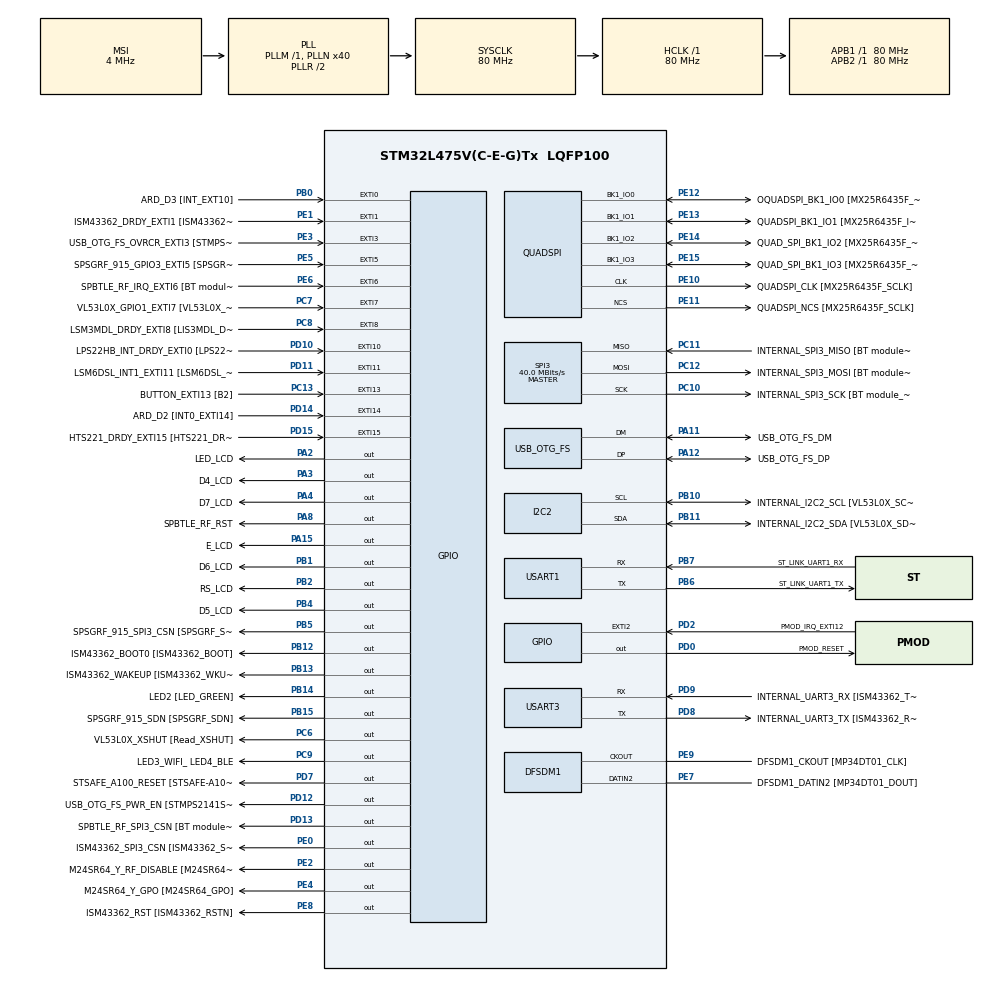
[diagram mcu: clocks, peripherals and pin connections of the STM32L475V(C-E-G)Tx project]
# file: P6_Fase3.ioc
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I2C2.Timing=0x10909CEC
Mcu.Family=STM32L4
Mcu.Name=STM32L475V(C-E-G)Tx
Mcu.Package=LQFP100
NVIC.EXTI15_10_IRQn=true\:0\:0\:false\:false\:true\:true\:true
NVIC.EXTI9_5_IRQn=true\:0\:0\:false\:false\:true\:true\:true
NVIC.OTG_FS_IRQn=true\:0\:0\:false\:false\:true\:true\:true
NVIC.PriorityGroup=NVIC_PRIORITYGROUP_4
PA0.GPIO_Label=ARD_D1 [UART4_TX]
PA0.Signal=UART4_TX
PA1.GPIO_Label=ARD_D0 [UART4_RX]
PA1.Signal=UART4_RX
PA10.GPIO_Label=USB_OTG_FS_ID
PA10.Signal=USB_OTG_FS_ID
PA11.GPIO_Label=USB_OTG_FS_DM
PA11.Mode=Device_Only
PA11.Signal=USB_OTG_FS_DM
PA12.GPIO_Label=USB_OTG_FS_DP
PA12.Mode=Device_Only
PA12.Signal=USB_OTG_FS_DP
PA13\ (JTMS-SWDIO).GPIO_Label=SYS_JTMS_SWDIO
PA13\ (JTMS-SWDIO).Mode=Serial_Wire
PA13\ (JTMS-SWDIO).Signal=SYS_JTMS-SWDIO
PA14\ (JTCK-SWCLK).GPIO_Label=SYS_JTCK_SWCLK
PA14\ (JTCK-SWCLK).Mode=Serial_Wire
PA14\ (JTCK-SWCLK).Signal=SYS_JTCK-SWCLK
PA15\ (JTDI).GPIO_Label=E_LCD
PA15\ (JTDI).Signal=GPIO_Output
PA2.GPIO_Label=LED_LCD
PA2.Signal=GPIO_Output
PA3.GPIO_Label=D4_LCD
PA3.Signal=GPIO_Output
PA4.GPIO_Label=D7_LCD
PA4.Signal=GPIO_Output
PA5.GPIO_Label=ARD_D13 [SPI1_SCK]
PA5.Signal=SPI1_SCK
PA6.GPIO_Label=ARD_D12 [SPI1_MISO]
PA6.Signal=SPI1_MISO
PA7.GPIO_Label=ARD_D11 [SPI1_MOSI]
PA7.Signal=SPI1_MOSI
PA8.GPIO_Label=SPBTLE_RF_RST
PA8.Signal=GPIO_Output
PA9.GPIO_Label=USB_OTG_FS_VBUS [STMPS2141STR_OUT]
PA9.Signal=USB_OTG_FS_VBUS
PB0.GPIO_Label=ARD_D3 [INT_EXT10]
PB0.Signal=GPXTI0
PB1.GPIO_Label=D6_LCD
PB1.Signal=GPIO_Output
PB10.GPIO_Label=INTERNAL_I2C2_SCL [VL53L0X_SCL]
PB10.Mode=I2C
PB10.Signal=I2C2_SCL
PB11.GPIO_Label=INTERNAL_I2C2_SDA [VL53L0X_SDA]
PB11.Mode=I2C
PB11.Signal=I2C2_SDA
PB12.GPIO_Label=ISM43362_BOOT0 [ISM43362_BOOT]
PB12.Signal=GPIO_Output
PB13.GPIO_Label=ISM43362_WAKEUP [ISM43362_WKUP]
PB13.Signal=GPIO_Output
PB14.GPIO_Label=LED2 [LED_GREEN]
PB14.Signal=GPIO_Output
PB15.GPIO_Label=SPSGRF_915_SDN [SPSGRF_SDN]
PB15.Signal=GPIO_Output
PB2.GPIO_Label=RS_LCD
PB2.Signal=GPIO_Output
PB3\ (JTDO-TRACESWO).GPIO_Label=SYS_JTD0_SWO
PB3\ (JTDO-TRACESWO).Signal=SYS_JTDO-SWO
PB4\ (NJTRST).GPIO_Label=D5_LCD
PB4\ (NJTRST).Signal=GPIO_Output
PB5.GPIO_Label=SPSGRF_915_SPI3_CSN [SPSGRF_SPI_CS]
PB5.PinState=GPIO_PIN_SET
PB5.Signal=GPIO_Output
PB6.GPIO_Label=ST_LINK_UART1_TX
PB6.Mode=Asynchronous
PB6.Signal=USART1_TX
PB7.GPIO_Label=ST_LINK_UART1_RX
PB7.Mode=Asynchronous
PB7.Signal=USART1_RX
PB8.GPIO_Label=ARD_D15 [I2C1_SCL]
PB8.Signal=I2C1_SCL
PB9.GPIO_Label=ARD_D14 [I2C1_SDA]
PB9.Signal=I2C1_SDA
PC0.GPIO_Label=ARD_A5 [ADC]
PC0.Signal=ADCx_IN1
PC1.GPIO_Label=ARD_A4 [ADC]
PC1.Signal=ADCx_IN2
PC10.GPIO_Label=INTERNAL_SPI3_SCK [BT module_SPI_SCLK] [ISM43362_SCK]
PC10.Mode=Full_Duplex_Master
PC10.Signal=SPI3_SCK
PC11.GPIO_Label=INTERNAL_SPI3_MISO [BT module_SPI_MISO] [ISM43362_MISO]
PC11.Mode=Full_Duplex_Master
PC11.Signal=SPI3_MISO
PC12.GPIO_Label=INTERNAL_SPI3_MOSI [BT module_SPI_MOSI] [ISM43362_MOSI]
PC12.Mode=Full_Duplex_Master
PC12.Signal=SPI3_MOSI
PC13.GPIO_Label=BUTTON_EXTI13 [B2]
PC13.GPIO_ModeDefaultEXTI=GPIO_MODE_IT_FALLING
PC13.Signal=GPXTI13
PC14-OSC32_IN\ (PC14).Mode=LSE-External-Oscillator
PC14-OSC32_IN\ (PC14).Signal=RCC_OSC32_IN
PC15-OSC32_OUT\ (PC15).Mode=LSE-External-Oscillator
PC15-OSC32_OUT\ (PC15).Signal=RCC_OSC32_OUT
PC2.GPIO_Label=ARD_A3 [ADC]
PC2.Signal=ADCx_IN3
PC3.GPIO_Label=ARD_A2 [ADC]
PC3.Signal=ADCx_IN4
PC4.GPIO_Label=ARD_A1 [ADC]
PC4.Signal=ADCx_IN13
PC5.GPIO_Label=ARD_A0 [ADC]
PC5.Signal=ADCx_IN14
PC6.GPIO_Label=VL53L0X_XSHUT [Read_XSHUT]
PC6.Signal=GPIO_Output
PC7.GPIO_Label=VL53L0X_GPIO1_EXTI7 [VL53L0X_GPIO1]
PC7.Signal=GPXTI7
PC8.GPIO_Label=LSM3MDL_DRDY_EXTI8 [LIS3MDL_DRDY]
PC8.Signal=GPXTI8
PC9.GPIO_Label=LED3_WIFI_ LED4_BLE
PC9.Signal=GPIO_Output
PD0.GPIO_Label=PMOD_RESET
PD0.Signal=GPIO_Output
PD1.GPIO_Label=PMOD_SPI2_SCK
PD1.Signal=SPI2_SCK
PD10.GPIO_Label=LPS22HB_INT_DRDY_EXTI0 [LPS22HB_INT_DRDY] 
PD10.Signal=GPXTI10
PD11.GPIO_Label=LSM6DSL_INT1_EXTI11 [LSM6DSL_INT1]
PD11.Signal=GPXTI11
PD12.GPIO_Label=USB_OTG_FS_PWR_EN [STMPS2141STR_EN]
PD12.Signal=GPIO_Output
PD13.GPIO_Label=SPBTLE_RF_SPI3_CSN [BT module_SPI_CS]
PD13.PinState=GPIO_PIN_SET
PD13.Signal=GPIO_Output
PD14.GPIO_Label=ARD_D2 [INT0_EXTI14]
PD14.Signal=GPXTI14
PD15.GPIO_Label=HTS221_DRDY_EXTI15 [HTS221_DRDY]
PD15.Signal=GPXTI15
PD2.GPIO_Label=PMOD_IRQ_EXTI12
PD2.Signal=GPXTI2
PD3.GPIO_Label=PMOD_UART2_CTS
PD3.Signal=USART2_CTS
PD4.GPIO_Label=PMOD_UART2_RTS
PD4.Signal=USART2_RTS
PD5.GPIO_Label=PMOD_UART2_TX
PD5.Signal=USART2_TX
PD6.GPIO_Label=PMOD_UART2_RX
PD6.Signal=USART2_RX
PD7.GPIO_Label=STSAFE_A100_RESET [STSAFE-A100_RESET]
PD7.Signal=GPIO_Output
PD8.GPIO_Label=INTERNAL_UART3_TX [ISM43362_RX]
PD8.Mode=Asynchronous
PD8.Signal=USART3_TX
PD9.GPIO_Label=INTERNAL_UART3_RX [ISM43362_TX]
PD9.Mode=Asynchronous
PD9.Signal=USART3_RX
PE0.GPIO_Label=ISM43362_SPI3_CSN [ISM43362_SSN]
PE0.PinState=GPIO_PIN_SET
PE0.Signal=GPIO_Output
PE1.GPIO_Label=ISM43362_DRDY_EXTI1 [ISM43362_DATARDY]
PE1.Signal=GPXTI1
PE10.GPIO_Label=QUADSPI_CLK [MX25R6435F_SCLK]
PE10.Mode=Single Bank
PE10.Signal=QUADSPI_CLK
PE11.GPIO_Label=QUADSPI_NCS [MX25R6435F_SCLK]
PE11.Mode=Single Bank
PE11.Signal=QUADSPI_NCS
PE12.GPIO_Label=OQUADSPI_BK1_IO0 [MX25R6435F_IO0]
PE12.Mode=Single Bank
PE12.Signal=QUADSPI_BK1_IO0
PE13.GPIO_Label=QUADSPI_BK1_IO1 [MX25R6435F_IO1]
PE13.Mode=Single Bank
PE13.Signal=QUADSPI_BK1_IO1
PE14.GPIO_Label=QUAD_SPI_BK1_IO2 [MX25R6435F_IO2]
PE14.Mode=Single Bank
PE14.Signal=QUADSPI_BK1_IO2
PE15.GPIO_Label=QUAD_SPI_BK1_IO3 [MX25R6435F_IO3]
PE15.Mode=Single Bank
PE15.Signal=QUADSPI_BK1_IO3
PE2.GPIO_Label=M24SR64_Y_RF_DISABLE [M24SR64_RFDIS]
PE2.Signal=GPIO_Output
PE3.GPIO_Label=USB_OTG_FS_OVRCR_EXTI3 [STMPS2141STR_FAULT]
PE3.Signal=GPXTI3
PE4.GPIO_Label=M24SR64_Y_GPO [M24SR64_GPO]
PE4.Signal=GPIO_Output
PE5.GPIO_Label=SPSGRF_915_GPIO3_EXTI5 [SPSGRF_GPIO_3]
PE5.Signal=GPXTI5
PE6.GPIO_Label=SPBTLE_RF_IRQ_EXTI6 [BT module_SPI_IRQ]
PE6.Signal=GPXTI6
PE7.GPIO_Label=DFSDM1_DATIN2 [MP34DT01_DOUT]
PE7.Signal=S_DATAIN2DFSDM1
PE8.GPIO_Label=ISM43362_RST [ISM43362_RSTN]
PE8.Signal=GPIO_Output
PE9.GPIO_Label=DFSDM1_CKOUT [MP34DT01_CLK]
PE9.Signal=S_CKOUTDFSDM1
ProjectManager.HeapSize=0x200
ProjectManager.StackSize=0x400
ProjectManager.TargetToolchain=STM32CubeIDE
RCC.ADCFreq_Value=48000000
RCC.AHBFreq_Value=80000000
RCC.APB1Freq_Value=80000000
RCC.APB1TimFreq_Value=80000000
RCC.APB2Freq_Value=80000000
RCC.APB2TimFreq_Value=80000000
RCC.CortexFreq_Value=80000000
RCC.HCLKFreq_Value=80000000
RCC.HSE_VALUE=8000000
RCC.HSI_VALUE=16000000
RCC.MSI_VALUE=4000000
RCC.PLLN=40
RCC.PLLSAI1N=24
RCC.SYSCLKFreq_VALUE=80000000
RCC.SYSCLKSource=RCC_SYSCLKSOURCE_PLLCLK
RCC.USBFreq_Value=48000000
RCC.VCOOutputFreq_Value=160000000
SH.ADCx_IN1.0=ADC1_IN1
SH.ADCx_IN13.0=ADC1_IN13
SH.ADCx_IN14.0=ADC1_IN14
SH.ADCx_IN2.0=ADC1_IN2
SH.ADCx_IN3.0=ADC1_IN3
SH.ADCx_IN4.0=ADC1_IN4
SH.S_CKOUTDFSDM1.0=DFSDM1_CKOUT,CKOUT
SH.S_CKOUTDFSDM1.1=DFSDM1_CKOUT,PDM_SPI_Input_from_ch12_and_Internal_Clock
SH.S_DATAIN2DFSDM1.0=DFSDM1_DATIN2,PDM_SPI_Input_from_ch12_and_Internal_Clock
SPI3.CalculateBaudRate=40.0 MBits/s
SPI3.Direction=SPI_DIRECTION_2LINES
SPI3.Mode=SPI_MODE_MASTER
SPI3.VirtualType=VM_MASTER
USART1.VirtualMode-Asynchronous=VM_ASYNC
USART3.VirtualMode-Asynchronous=VM_ASYNC
USB_DEVICE.CLASS_NAME_FS=CUSTOM_HID
USB_DEVICE.USBD_CUSTOMHID_OUTREPORT_BUF_SIZE=4
USB_DEVICE.USBD_CUSTOM_HID_REPORT_DESC_SIZE=29
USB_DEVICE.VirtualMode=CustomHid
USB_DEVICE.VirtualModeFS=Custom_Hid_FS
USB_OTG_FS.VirtualMode=Device_Only
VP_USB_DEVICE_VS_USB_DEVICE_CUSTOM_HID_FS.Mode=CUSTOM_HID_FS
board=B-L475E-IOT01A1

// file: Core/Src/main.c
/* USER CODE BEGIN Header */
/**
  ******************************************************************************
  * @file           : main.c
  * @brief          : Main program body
  ******************************************************************************
  * @attention
  *
  * <h2><center>&copy; Copyright (c) 2021 STMicroelectronics.
  * All rights reserved.</center></h2>
  *
  * This software component is licensed by ST under BSD 3-Clause license,
  * the "License"; You may not use this file except in compliance with the
  * License. You may obtain a copy of the License at:
  *                        opensource.org/licenses/BSD-3-Clause
  *
  ******************************************************************************
  */
/* USER CODE END Header */

#include "main.h"
#include "usb_device.h"

/* USER CODE BEGIN Includes */
#include "hd44780.h"
#include "HTS221.h"
/* USER CODE END Includes */

DFSDM_Channel_HandleTypeDef hdfsdm1_channel1;

I2C_HandleTypeDef hi2c2;

QSPI_HandleTypeDef hqspi;

SPI_HandleTypeDef hspi3;

UART_HandleTypeDef huart1;
UART_HandleTypeDef huart3;

/* USER CODE BEGIN PV */
extern USBD_HandleTypeDef hUsbDeviceFS;
extern uint8_t miflag;
/* USER CODE END PV */

void SystemClock_Config(void);
static void MX_GPIO_Init(void);
static void MX_DFSDM1_Init(void);
static void MX_I2C2_Init(void);
static void MX_QUADSPI_Init(void);
static void MX_SPI3_Init(void);
static void MX_USART1_UART_Init(void);
static void MX_USART3_UART_Init(void);

int main(void)
{

  /* MCU Configuration--------------------------------------------------------*/

  /* Reset of all peripherals, Initializes the Flash interface and the Systick. */
  HAL_Init();

  /* USER CODE BEGIN Init */
  uint8_t dato[6];
  int led = 0;
  /* USER CODE END Init */

  /* Configure the system clock */
  SystemClock_Config();

  /* Initialize all configured peripherals */
  MX_GPIO_Init();
  MX_DFSDM1_Init();
  MX_I2C2_Init();
  MX_QUADSPI_Init();
  MX_SPI3_Init();
  MX_USART1_UART_Init();
  MX_USART3_UART_Init();
  MX_USB_DEVICE_Init();
  /* USER CODE BEGIN 2 */
  LL_GPIO_SetOutputPin(GPIOA, LED_LCD_Pin);
  lcd_reset();
  lcd_display_settings(1,0,0);
  lcd_clear();

  HTS221_Init();

  HAL_Delay(5000); //retraso para esperar a que el USB se configure
  dato[0]=0; //estos son los tres botones, ninguno pulsado
  /* USER CODE END 2 */

  /* Infinite loop */
  /* USER CODE BEGIN WHILE */
  HAL_GPIO_WritePin(LED2_GPIO_Port, LED2_Pin, GPIO_PIN_SET);
  USBD_LL_PrepareReceive(&hUsbDeviceFS, 1,dato, 6);
  while (1)
  {
    /* USER CODE END WHILE */
	  if(miflag==1){
		  USBD_LL_PrepareReceive(&hUsbDeviceFS, 1,dato,6);
		  moveToXY(0,0);
		  lcd_print("Tecla: ");
		  writeIntegerToLCD(dato[0]);
		  if(led == 0){
			  LL_GPIO_SetOutputPin(LED2_GPIO_Port, LED2_Pin);
			  led = 1;
		  }else{
			  LL_GPIO_ResetOutputPin(LED2_GPIO_Port, LED2_Pin);
			  led = 0;
		  }
		  miflag=0;
	  }
  }
}

void SystemClock_Config(void)
{
  RCC_OscInitTypeDef RCC_OscInitStruct = {0};
  RCC_ClkInitTypeDef RCC_ClkInitStruct = {0};
  RCC_PeriphCLKInitTypeDef PeriphClkInit = {0};

  /** Configure LSE Drive Capability
  */
  HAL_PWR_EnableBkUpAccess();
  __HAL_RCC_LSEDRIVE_CONFIG(RCC_LSEDRIVE_LOW);
  /** Initializes the CPU, AHB and APB busses clocks
  */
  RCC_OscInitStruct.OscillatorType = RCC_OSCILLATORTYPE_LSE|RCC_OSCILLATORTYPE_MSI;
  RCC_OscInitStruct.LSEState = RCC_LSE_ON;
  RCC_OscInitStruct.MSIState = RCC_MSI_ON;
  RCC_OscInitStruct.MSICalibrationValue = 0;
  RCC_OscInitStruct.MSIClockRange = RCC_MSIRANGE_6;
  RCC_OscInitStruct.PLL.PLLState = RCC_PLL_ON;
  RCC_OscInitStruct.PLL.PLLSource = RCC_PLLSOURCE_MSI;
  RCC_OscInitStruct.PLL.PLLM = 1;
  RCC_OscInitStruct.PLL.PLLN = 40;
  RCC_OscInitStruct.PLL.PLLP = RCC_PLLP_DIV7;
  RCC_OscInitStruct.PLL.PLLQ = RCC_PLLQ_DIV2;
  RCC_OscInitStruct.PLL.PLLR = RCC_PLLR_DIV2;
  if (HAL_RCC_OscConfig(&RCC_OscInitStruct) != HAL_OK)
  {
    Error_Handler();
  }
  /** Initializes the CPU, AHB and APB busses clocks
  */
  RCC_ClkInitStruct.ClockType = RCC_CLOCKTYPE_HCLK|RCC_CLOCKTYPE_SYSCLK
                              |RCC_CLOCKTYPE_PCLK1|RCC_CLOCKTYPE_PCLK2;
  RCC_ClkInitStruct.SYSCLKSource = RCC_SYSCLKSOURCE_PLLCLK;
  RCC_ClkInitStruct.AHBCLKDivider = RCC_SYSCLK_DIV1;
  RCC_ClkInitStruct.APB1CLKDivider = RCC_HCLK_DIV1;
  RCC_ClkInitStruct.APB2CLKDivider = RCC_HCLK_DIV1;

  if (HAL_RCC_ClockConfig(&RCC_ClkInitStruct, FLASH_LATENCY_4) != HAL_OK)
  {
    Error_Handler();
  }
  PeriphClkInit.PeriphClockSelection = RCC_PERIPHCLK_USART1|RCC_PERIPHCLK_USART3
                              |RCC_PERIPHCLK_I2C2|RCC_PERIPHCLK_DFSDM1
                              |RCC_PERIPHCLK_USB;
  PeriphClkInit.Usart1ClockSelection = RCC_USART1CLKSOURCE_PCLK2;
  PeriphClkInit.Usart3ClockSelection = RCC_USART3CLKSOURCE_PCLK1;
  PeriphClkInit.I2c2ClockSelection = RCC_I2C2CLKSOURCE_PCLK1;
  PeriphClkInit.Dfsdm1ClockSelection = RCC_DFSDM1CLKSOURCE_PCLK;
  PeriphClkInit.UsbClockSelection = RCC_USBCLKSOURCE_PLLSAI1;
  PeriphClkInit.PLLSAI1.PLLSAI1Source = RCC_PLLSOURCE_MSI;
  PeriphClkInit.PLLSAI1.PLLSAI1M = 1;
  PeriphClkInit.PLLSAI1.PLLSAI1N = 24;
  PeriphClkInit.PLLSAI1.PLLSAI1P = RCC_PLLP_DIV7;
  PeriphClkInit.PLLSAI1.PLLSAI1Q = RCC_PLLQ_DIV2;
  PeriphClkInit.PLLSAI1.PLLSAI1R = RCC_PLLR_DIV2;
  PeriphClkInit.PLLSAI1.PLLSAI1ClockOut = RCC_PLLSAI1_48M2CLK;
  if (HAL_RCCEx_PeriphCLKConfig(&PeriphClkInit) != HAL_OK)
  {
    Error_Handler();
  }
  /** Configure the main internal regulator output voltage
  */
  if (HAL_PWREx_ControlVoltageScaling(PWR_REGULATOR_VOLTAGE_SCALE1) != HAL_OK)
  {
    Error_Handler();
  }
  /** Enable MSI Auto calibration
  */
  HAL_RCCEx_EnableMSIPLLMode();
}

static void MX_DFSDM1_Init(void)
{

  hdfsdm1_channel1.Instance = DFSDM1_Channel1;
  hdfsdm1_channel1.Init.OutputClock.Activation = ENABLE;
  hdfsdm1_channel1.Init.OutputClock.Selection = DFSDM_CHANNEL_OUTPUT_CLOCK_SYSTEM;
  hdfsdm1_channel1.Init.OutputClock.Divider = 2;
  hdfsdm1_channel1.Init.Input.Multiplexer = DFSDM_CHANNEL_EXTERNAL_INPUTS;
  hdfsdm1_channel1.Init.Input.DataPacking = DFSDM_CHANNEL_STANDARD_MODE;
  hdfsdm1_channel1.Init.Input.Pins = DFSDM_CHANNEL_FOLLOWING_CHANNEL_PINS;
  hdfsdm1_channel1.Init.SerialInterface.Type = DFSDM_CHANNEL_SPI_RISING;
  hdfsdm1_channel1.Init.SerialInterface.SpiClock = DFSDM_CHANNEL_SPI_CLOCK_INTERNAL;
  hdfsdm1_channel1.Init.Awd.FilterOrder = DFSDM_CHANNEL_FASTSINC_ORDER;
  hdfsdm1_channel1.Init.Awd.Oversampling = 1;
  hdfsdm1_channel1.Init.Offset = 0;
  hdfsdm1_channel1.Init.RightBitShift = 0x00;
  if (HAL_DFSDM_ChannelInit(&hdfsdm1_channel1) != HAL_OK)
  {
    Error_Handler();
  }

}

static void MX_I2C2_Init(void)
{

  hi2c2.Instance = I2C2;
  hi2c2.Init.Timing = 0x10909CEC;
  hi2c2.Init.OwnAddress1 = 0;
  hi2c2.Init.AddressingMode = I2C_ADDRESSINGMODE_7BIT;
  hi2c2.Init.DualAddressMode = I2C_DUALADDRESS_DISABLE;
  hi2c2.Init.OwnAddress2 = 0;
  hi2c2.Init.OwnAddress2Masks = I2C_OA2_NOMASK;
  hi2c2.Init.GeneralCallMode = I2C_GENERALCALL_DISABLE;
  hi2c2.Init.NoStretchMode = I2C_NOSTRETCH_DISABLE;
  if (HAL_I2C_Init(&hi2c2) != HAL_OK)
  {
    Error_Handler();
  }
  /** Configure Analogue filter
  */
  if (HAL_I2CEx_ConfigAnalogFilter(&hi2c2, I2C_ANALOGFILTER_ENABLE) != HAL_OK)
  {
    Error_Handler();
  }
  /** Configure Digital filter
  */
  if (HAL_I2CEx_ConfigDigitalFilter(&hi2c2, 0) != HAL_OK)
  {
    Error_Handler();
  }

}

static void MX_QUADSPI_Init(void)
{

  /* QUADSPI parameter configuration*/
  hqspi.Instance = QUADSPI;
  hqspi.Init.ClockPrescaler = 255;
  hqspi.Init.FifoThreshold = 1;
  hqspi.Init.SampleShifting = QSPI_SAMPLE_SHIFTING_NONE;
  hqspi.Init.FlashSize = 1;
  hqspi.Init.ChipSelectHighTime = QSPI_CS_HIGH_TIME_1_CYCLE;
  hqspi.Init.ClockMode = QSPI_CLOCK_MODE_0;
  if (HAL_QSPI_Init(&hqspi) != HAL_OK)
  {
    Error_Handler();
  }

}

static void MX_SPI3_Init(void)
{

  /* SPI3 parameter configuration*/
  hspi3.Instance = SPI3;
  hspi3.Init.Mode = SPI_MODE_MASTER;
  hspi3.Init.Direction = SPI_DIRECTION_2LINES;
  hspi3.Init.DataSize = SPI_DATASIZE_4BIT;
  hspi3.Init.CLKPolarity = SPI_POLARITY_LOW;
  hspi3.Init.CLKPhase = SPI_PHASE_1EDGE;
  hspi3.Init.NSS = SPI_NSS_SOFT;
  hspi3.Init.BaudRatePrescaler = SPI_BAUDRATEPRESCALER_2;
  hspi3.Init.FirstBit = SPI_FIRSTBIT_MSB;
  hspi3.Init.TIMode = SPI_TIMODE_DISABLE;
  hspi3.Init.CRCCalculation = SPI_CRCCALCULATION_DISABLE;
  hspi3.Init.CRCPolynomial = 7;
  hspi3.Init.CRCLength = SPI_CRC_LENGTH_DATASIZE;
  hspi3.Init.NSSPMode = SPI_NSS_PULSE_ENABLE;
  if (HAL_SPI_Init(&hspi3) != HAL_OK)
  {
    Error_Handler();
  }

}

static void MX_USART1_UART_Init(void)
{

  huart1.Instance = USART1;
  huart1.Init.BaudRate = 115200;
  huart1.Init.WordLength = UART_WORDLENGTH_8B;
  huart1.Init.StopBits = UART_STOPBITS_1;
  huart1.Init.Parity = UART_PARITY_NONE;
  huart1.Init.Mode = UART_MODE_TX_RX;
  huart1.Init.HwFlowCtl = UART_HWCONTROL_NONE;
  huart1.Init.OverSampling = UART_OVERSAMPLING_16;
  huart1.Init.OneBitSampling = UART_ONE_BIT_SAMPLE_DISABLE;
  huart1.AdvancedInit.AdvFeatureInit = UART_ADVFEATURE_NO_INIT;
  if (HAL_UART_Init(&huart1) != HAL_OK)
  {
    Error_Handler();
  }

}

static void MX_USART3_UART_Init(void)
{

  huart3.Instance = USART3;
  huart3.Init.BaudRate = 115200;
  huart3.Init.WordLength = UART_WORDLENGTH_8B;
  huart3.Init.StopBits = UART_STOPBITS_1;
  huart3.Init.Parity = UART_PARITY_NONE;
  huart3.Init.Mode = UART_MODE_TX_RX;
  huart3.Init.HwFlowCtl = UART_HWCONTROL_NONE;
  huart3.Init.OverSampling = UART_OVERSAMPLING_16;
  huart3.Init.OneBitSampling = UART_ONE_BIT_SAMPLE_DISABLE;
  huart3.AdvancedInit.AdvFeatureInit = UART_ADVFEATURE_NO_INIT;
  if (HAL_UART_Init(&huart3) != HAL_OK)
  {
    Error_Handler();
  }

}

static void MX_GPIO_Init(void)
{
  LL_EXTI_InitTypeDef EXTI_InitStruct = {0};
  LL_GPIO_InitTypeDef GPIO_InitStruct = {0};

  /* GPIO Ports Clock Enable */
  LL_AHB2_GRP1_EnableClock(LL_AHB2_GRP1_PERIPH_GPIOE);
  LL_AHB2_GRP1_EnableClock(LL_AHB2_GRP1_PERIPH_GPIOC);
  LL_AHB2_GRP1_EnableClock(LL_AHB2_GRP1_PERIPH_GPIOA);
  LL_AHB2_GRP1_EnableClock(LL_AHB2_GRP1_PERIPH_GPIOB);
  LL_AHB2_GRP1_EnableClock(LL_AHB2_GRP1_PERIPH_GPIOD);

  /**/
  LL_GPIO_ResetOutputPin(GPIOE, M24SR64_Y_RF_DISABLE_Pin|M24SR64_Y_GPO_Pin|ISM43362_RST_Pin);

  /**/
  LL_GPIO_ResetOutputPin(GPIOA, LED_LCD_Pin|D4_LCD_Pin|D7_LCD_Pin|SPBTLE_RF_RST_Pin
                          |E_LCD_Pin);

  /**/
  LL_GPIO_ResetOutputPin(GPIOB, D6_LCD_Pin|RS_LCD_Pin|ISM43362_BOOT0_Pin|ISM43362_WAKEUP_Pin
                          |LED2_Pin|SPSGRF_915_SDN_Pin|D5_LCD_Pin);

  /**/
  LL_GPIO_ResetOutputPin(GPIOD, USB_OTG_FS_PWR_EN_Pin|PMOD_RESET_Pin|STSAFE_A100_RESET_Pin);

  /**/
  LL_GPIO_ResetOutputPin(GPIOC, VL53L0X_XSHUT_Pin|LED3_WIFI__LED4_BLE_Pin);

  /**/
  LL_GPIO_SetOutputPin(SPBTLE_RF_SPI3_CSN_GPIO_Port, SPBTLE_RF_SPI3_CSN_Pin);

  /**/
  LL_GPIO_SetOutputPin(SPSGRF_915_SPI3_CSN_GPIO_Port, SPSGRF_915_SPI3_CSN_Pin);

  /**/
  LL_GPIO_SetOutputPin(ISM43362_SPI3_CSN_GPIO_Port, ISM43362_SPI3_CSN_Pin);

  /**/
  GPIO_InitStruct.Pin = M24SR64_Y_RF_DISABLE_Pin|M24SR64_Y_GPO_Pin|ISM43362_RST_Pin|ISM43362_SPI3_CSN_Pin;
  GPIO_InitStruct.Mode = LL_GPIO_MODE_OUTPUT;
  GPIO_InitStruct.Speed = LL_GPIO_SPEED_FREQ_LOW;
  GPIO_InitStruct.OutputType = LL_GPIO_OUTPUT_PUSHPULL;
  GPIO_InitStruct.Pull = LL_GPIO_PULL_NO;
  LL_GPIO_Init(GPIOE, &GPIO_InitStruct);

  /**/
  GPIO_InitStruct.Pin = ARD_A5_Pin|ARD_A4_Pin|ARD_A3_Pin|ARD_A2_Pin
                          |ARD_A1_Pin|ARD_A0_Pin;
  GPIO_InitStruct.Mode = LL_GPIO_MODE_ANALOG;
  GPIO_InitStruct.Pull = LL_GPIO_PULL_NO;
  LL_GPIO_Init(GPIOC, &GPIO_InitStruct);

  /**/
  GPIO_InitStruct.Pin = ARD_D1_Pin|ARD_D0_Pin;
  GPIO_InitStruct.Mode = LL_GPIO_MODE_ALTERNATE;
  GPIO_InitStruct.Speed = LL_GPIO_SPEED_FREQ_VERY_HIGH;
  GPIO_InitStruct.OutputType = LL_GPIO_OUTPUT_PUSHPULL;
  GPIO_InitStruct.Pull = LL_GPIO_PULL_NO;
  GPIO_InitStruct.Alternate = LL_GPIO_AF_8;
  LL_GPIO_Init(GPIOA, &GPIO_InitStruct);

  /**/
  GPIO_InitStruct.Pin = LED_LCD_Pin|D4_LCD_Pin|D7_LCD_Pin|SPBTLE_RF_RST_Pin
                          |E_LCD_Pin;
  GPIO_InitStruct.Mode = LL_GPIO_MODE_OUTPUT;
  GPIO_InitStruct.Speed = LL_GPIO_SPEED_FREQ_LOW;
  GPIO_InitStruct.OutputType = LL_GPIO_OUTPUT_PUSHPULL;
  GPIO_InitStruct.Pull = LL_GPIO_PULL_NO;
  LL_GPIO_Init(GPIOA, &GPIO_InitStruct);

  /**/
  GPIO_InitStruct.Pin = ARD_D13_Pin|ARD_D12_Pin|ARD_D11_Pin;
  GPIO_InitStruct.Mode = LL_GPIO_MODE_ALTERNATE;
  GPIO_InitStruct.Speed = LL_GPIO_SPEED_FREQ_VERY_HIGH;
  GPIO_InitStruct.OutputType = LL_GPIO_OUTPUT_PUSHPULL;
  GPIO_InitStruct.Pull = LL_GPIO_PULL_NO;
  GPIO_InitStruct.Alternate = LL_GPIO_AF_5;
  LL_GPIO_Init(GPIOA, &GPIO_InitStruct);

  /**/
  GPIO_InitStruct.Pin = D6_LCD_Pin|RS_LCD_Pin|ISM43362_BOOT0_Pin|ISM43362_WAKEUP_Pin
                          |LED2_Pin|SPSGRF_915_SDN_Pin|D5_LCD_Pin|SPSGRF_915_SPI3_CSN_Pin;
  GPIO_InitStruct.Mode = LL_GPIO_MODE_OUTPUT;
  GPIO_InitStruct.Speed = LL_GPIO_SPEED_FREQ_LOW;
  GPIO_InitStruct.OutputType = LL_GPIO_OUTPUT_PUSHPULL;
  GPIO_InitStruct.Pull = LL_GPIO_PULL_NO;
  LL_GPIO_Init(GPIOB, &GPIO_InitStruct);

  /**/
  GPIO_InitStruct.Pin = USB_OTG_FS_PWR_EN_Pin|SPBTLE_RF_SPI3_CSN_Pin|PMOD_RESET_Pin|STSAFE_A100_RESET_Pin;
  GPIO_InitStruct.Mode = LL_GPIO_MODE_OUTPUT;
  GPIO_InitStruct.Speed = LL_GPIO_SPEED_FREQ_LOW;
  GPIO_InitStruct.OutputType = LL_GPIO_OUTPUT_PUSHPULL;
  GPIO_InitStruct.Pull = LL_GPIO_PULL_NO;
  LL_GPIO_Init(GPIOD, &GPIO_InitStruct);

  /**/
  GPIO_InitStruct.Pin = VL53L0X_XSHUT_Pin|LED3_WIFI__LED4_BLE_Pin;
  GPIO_InitStruct.Mode = LL_GPIO_MODE_OUTPUT;
  GPIO_InitStruct.Speed = LL_GPIO_SPEED_FREQ_LOW;
  GPIO_InitStruct.OutputType = LL_GPIO_OUTPUT_PUSHPULL;
  GPIO_InitStruct.Pull = LL_GPIO_PULL_NO;
  LL_GPIO_Init(GPIOC, &GPIO_InitStruct);

  /**/
  GPIO_InitStruct.Pin = PMOD_SPI2_SCK_Pin;
  GPIO_InitStruct.Mode = LL_GPIO_MODE_ALTERNATE;
  GPIO_InitStruct.Speed = LL_GPIO_SPEED_FREQ_VERY_HIGH;
  GPIO_InitStruct.OutputType = LL_GPIO_OUTPUT_PUSHPULL;
  GPIO_InitStruct.Pull = LL_GPIO_PULL_NO;
  GPIO_InitStruct.Alternate = LL_GPIO_AF_5;
  LL_GPIO_Init(PMOD_SPI2_SCK_GPIO_Port, &GPIO_InitStruct);

  /**/
  GPIO_InitStruct.Pin = PMOD_UART2_CTS_Pin|PMOD_UART2_RTS_Pin|PMOD_UART2_TX_Pin|PMOD_UART2_RX_Pin;
  GPIO_InitStruct.Mode = LL_GPIO_MODE_ALTERNATE;
  GPIO_InitStruct.Speed = LL_GPIO_SPEED_FREQ_VERY_HIGH;
  GPIO_InitStruct.OutputType = LL_GPIO_OUTPUT_PUSHPULL;
  GPIO_InitStruct.Pull = LL_GPIO_PULL_NO;
  GPIO_InitStruct.Alternate = LL_GPIO_AF_7;
  LL_GPIO_Init(GPIOD, &GPIO_InitStruct);

  /**/
  GPIO_InitStruct.Pin = ARD_D15_Pin|ARD_D14_Pin;
  GPIO_InitStruct.Mode = LL_GPIO_MODE_ALTERNATE;
  GPIO_InitStruct.Speed = LL_GPIO_SPEED_FREQ_VERY_HIGH;
  GPIO_InitStruct.OutputType = LL_GPIO_OUTPUT_OPENDRAIN;
  GPIO_InitStruct.Pull = LL_GPIO_PULL_UP;
  GPIO_InitStruct.Alternate = LL_GPIO_AF_4;
  LL_GPIO_Init(GPIOB, &GPIO_InitStruct);

  /**/
  LL_SYSCFG_SetEXTISource(LL_SYSCFG_EXTI_PORTE, LL_SYSCFG_EXTI_LINE3);

  /**/
  LL_SYSCFG_SetEXTISource(LL_SYSCFG_EXTI_PORTE, LL_SYSCFG_EXTI_LINE5);

  /**/
  LL_SYSCFG_SetEXTISource(LL_SYSCFG_EXTI_PORTE, LL_SYSCFG_EXTI_LINE6);

  /**/
  LL_SYSCFG_SetEXTISource(LL_SYSCFG_EXTI_PORTC, LL_SYSCFG_EXTI_LINE13);

  /**/
  LL_SYSCFG_SetEXTISource(LL_SYSCFG_EXTI_PORTB, LL_SYSCFG_EXTI_LINE0);

  /**/
  LL_SYSCFG_SetEXTISource(LL_SYSCFG_EXTI_PORTD, LL_SYSCFG_EXTI_LINE10);

  /**/
  LL_SYSCFG_SetEXTISource(LL_SYSCFG_EXTI_PORTD, LL_SYSCFG_EXTI_LINE11);

  /**/
  LL_SYSCFG_SetEXTISource(LL_SYSCFG_EXTI_PORTD, LL_SYSCFG_EXTI_LINE14);

  /**/
  LL_SYSCFG_SetEXTISource(LL_SYSCFG_EXTI_PORTD, LL_SYSCFG_EXTI_LINE15);

  /**/
  LL_SYSCFG_SetEXTISource(LL_SYSCFG_EXTI_PORTC, LL_SYSCFG_EXTI_LINE7);

  /**/
  LL_SYSCFG_SetEXTISource(LL_SYSCFG_EXTI_PORTC, LL_SYSCFG_EXTI_LINE8);

  /**/
  LL_SYSCFG_SetEXTISource(LL_SYSCFG_EXTI_PORTD, LL_SYSCFG_EXTI_LINE2);

  /**/
  LL_SYSCFG_SetEXTISource(LL_SYSCFG_EXTI_PORTE, LL_SYSCFG_EXTI_LINE1);

  /**/
  EXTI_InitStruct.Line_0_31 = LL_EXTI_LINE_3;
  EXTI_InitStruct.Line_32_63 = LL_EXTI_LINE_NONE;
  EXTI_InitStruct.LineCommand = ENABLE;
  EXTI_InitStruct.Mode = LL_EXTI_MODE_IT;
  EXTI_InitStruct.Trigger = LL_EXTI_TRIGGER_RISING;
  LL_EXTI_Init(&EXTI_InitStruct);

  /**/
  EXTI_InitStruct.Line_0_31 = LL_EXTI_LINE_5;
  EXTI_InitStruct.Line_32_63 = LL_EXTI_LINE_NONE;
  EXTI_InitStruct.LineCommand = ENABLE;
  EXTI_InitStruct.Mode = LL_EXTI_MODE_IT;
  EXTI_InitStruct.Trigger = LL_EXTI_TRIGGER_RISING;
  LL_EXTI_Init(&EXTI_InitStruct);

  /**/
  EXTI_InitStruct.Line_0_31 = LL_EXTI_LINE_6;
  EXTI_InitStruct.Line_32_63 = LL_EXTI_LINE_NONE;
  EXTI_InitStruct.LineCommand = ENABLE;
  EXTI_InitStruct.Mode = LL_EXTI_MODE_IT;
  EXTI_InitStruct.Trigger = LL_EXTI_TRIGGER_RISING;
  LL_EXTI_Init(&EXTI_InitStruct);

  /**/
  EXTI_InitStruct.Line_0_31 = LL_EXTI_LINE_13;
  EXTI_InitStruct.Line_32_63 = LL_EXTI_LINE_NONE;
  EXTI_InitStruct.LineCommand = ENABLE;
  EXTI_InitStruct.Mode = LL_EXTI_MODE_IT;
  EXTI_InitStruct.Trigger = LL_EXTI_TRIGGER_FALLING;
  LL_EXTI_Init(&EXTI_InitStruct);

  /**/
  EXTI_InitStruct.Line_0_31 = LL_EXTI_LINE_0;
  EXTI_InitStruct.Line_32_63 = LL_EXTI_LINE_NONE;
  EXTI_InitStruct.LineCommand = ENABLE;
  EXTI_InitStruct.Mode = LL_EXTI_MODE_IT;
  EXTI_InitStruct.Trigger = LL_EXTI_TRIGGER_RISING;
  LL_EXTI_Init(&EXTI_InitStruct);

  /**/
  EXTI_InitStruct.Line_0_31 = LL_EXTI_LINE_10;
  EXTI_InitStruct.Line_32_63 = LL_EXTI_LINE_NONE;
  EXTI_InitStruct.LineCommand = ENABLE;
  EXTI_InitStruct.Mode = LL_EXTI_MODE_IT;
  EXTI_InitStruct.Trigger = LL_EXTI_TRIGGER_RISING;
  LL_EXTI_Init(&EXTI_InitStruct);

  /**/
  EXTI_InitStruct.Line_0_31 = LL_EXTI_LINE_11;
  EXTI_InitStruct.Line_32_63 = LL_EXTI_LINE_NONE;
  EXTI_InitStruct.LineCommand = ENABLE;
  EXTI_InitStruct.Mode = LL_EXTI_MODE_IT;
  EXTI_InitStruct.Trigger = LL_EXTI_TRIGGER_RISING;
  LL_EXTI_Init(&EXTI_InitStruct);

  /**/
  EXTI_InitStruct.Line_0_31 = LL_EXTI_LINE_14;
  EXTI_InitStruct.Line_32_63 = LL_EXTI_LINE_NONE;
  EXTI_InitStruct.LineCommand = ENABLE;
  EXTI_InitStruct.Mode = LL_EXTI_MODE_IT;
  EXTI_InitStruct.Trigger = LL_EXTI_TRIGGER_RISING;
  LL_EXTI_Init(&EXTI_InitStruct);

  /**/
  EXTI_InitStruct.Line_0_31 = LL_EXTI_LINE_15;
  EXTI_InitStruct.Line_32_63 = LL_EXTI_LINE_NONE;
  EXTI_InitStruct.LineCommand = ENABLE;
  EXTI_InitStruct.Mode = LL_EXTI_MODE_IT;
  EXTI_InitStruct.Trigger = LL_EXTI_TRIGGER_RISING;
  LL_EXTI_Init(&EXTI_InitStruct);

  /**/
  EXTI_InitStruct.Line_0_31 = LL_EXTI_LINE_7;
  EXTI_InitStruct.Line_32_63 = LL_EXTI_LINE_NONE;
  EXTI_InitStruct.LineCommand = ENABLE;
  EXTI_InitStruct.Mode = LL_EXTI_MODE_IT;
  EXTI_InitStruct.Trigger = LL_EXTI_TRIGGER_RISING;
  LL_EXTI_Init(&EXTI_InitStruct);

  /**/
  EXTI_InitStruct.Line_0_31 = LL_EXTI_LINE_8;
  EXTI_InitStruct.Line_32_63 = LL_EXTI_LINE_NONE;
  EXTI_InitStruct.LineCommand = ENABLE;
  EXTI_InitStruct.Mode = LL_EXTI_MODE_IT;
  EXTI_InitStruct.Trigger = LL_EXTI_TRIGGER_RISING;
  LL_EXTI_Init(&EXTI_InitStruct);

  /**/
  EXTI_InitStruct.Line_0_31 = LL_EXTI_LINE_2;
  EXTI_InitStruct.Line_32_63 = LL_EXTI_LINE_NONE;
  EXTI_InitStruct.LineCommand = ENABLE;
  EXTI_InitStruct.Mode = LL_EXTI_MODE_IT;
  EXTI_InitStruct.Trigger = LL_EXTI_TRIGGER_RISING;
  LL_EXTI_Init(&EXTI_InitStruct);

  /**/
  EXTI_InitStruct.Line_0_31 = LL_EXTI_LINE_1;
  EXTI_InitStruct.Line_32_63 = LL_EXTI_LINE_NONE;
  EXTI_InitStruct.LineCommand = ENABLE;
  EXTI_InitStruct.Mode = LL_EXTI_MODE_IT;
  EXTI_InitStruct.Trigger = LL_EXTI_TRIGGER_RISING;
  LL_EXTI_Init(&EXTI_InitStruct);

  /**/
  LL_GPIO_SetPinPull(USB_OTG_FS_OVRCR_EXTI3_GPIO_Port, USB_OTG_FS_OVRCR_EXTI3_Pin, LL_GPIO_PULL_NO);

  /**/
  LL_GPIO_SetPinPull(SPSGRF_915_GPIO3_EXTI5_GPIO_Port, SPSGRF_915_GPIO3_EXTI5_Pin, LL_GPIO_PULL_NO);

  /**/
  LL_GPIO_SetPinPull(SPBTLE_RF_IRQ_EXTI6_GPIO_Port, SPBTLE_RF_IRQ_EXTI6_Pin, LL_GPIO_PULL_NO);

  /**/
  LL_GPIO_SetPinPull(BUTTON_EXTI13_GPIO_Port, BUTTON_EXTI13_Pin, LL_GPIO_PULL_NO);

  /**/
  LL_GPIO_SetPinPull(ARD_D3_GPIO_Port, ARD_D3_Pin, LL_GPIO_PULL_NO);

  /**/
  LL_GPIO_SetPinPull(LPS22HB_INT_DRDY_EXTI0_GPIO_Port, LPS22HB_INT_DRDY_EXTI0_Pin, LL_GPIO_PULL_NO);

  /**/
  LL_GPIO_SetPinPull(LSM6DSL_INT1_EXTI11_GPIO_Port, LSM6DSL_INT1_EXTI11_Pin, LL_GPIO_PULL_NO);

  /**/
  LL_GPIO_SetPinPull(ARD_D2_GPIO_Port, ARD_D2_Pin, LL_GPIO_PULL_NO);

  /**/
  LL_GPIO_SetPinPull(HTS221_DRDY_EXTI15_GPIO_Port, HTS221_DRDY_EXTI15_Pin, LL_GPIO_PULL_NO);

  /**/
  LL_GPIO_SetPinPull(VL53L0X_GPIO1_EXTI7_GPIO_Port, VL53L0X_GPIO1_EXTI7_Pin, LL_GPIO_PULL_NO);

  /**/
  LL_GPIO_SetPinPull(LSM3MDL_DRDY_EXTI8_GPIO_Port, LSM3MDL_DRDY_EXTI8_Pin, LL_GPIO_PULL_NO);

  /**/
  LL_GPIO_SetPinPull(PMOD_IRQ_EXTI12_GPIO_Port, PMOD_IRQ_EXTI12_Pin, LL_GPIO_PULL_NO);

  /**/
  LL_GPIO_SetPinPull(ISM43362_DRDY_EXTI1_GPIO_Port, ISM43362_DRDY_EXTI1_Pin, LL_GPIO_PULL_NO);

  /**/
  LL_GPIO_SetPinMode(USB_OTG_FS_OVRCR_EXTI3_GPIO_Port, USB_OTG_FS_OVRCR_EXTI3_Pin, LL_GPIO_MODE_INPUT);

  /**/
  LL_GPIO_SetPinMode(SPSGRF_915_GPIO3_EXTI5_GPIO_Port, SPSGRF_915_GPIO3_EXTI5_Pin, LL_GPIO_MODE_INPUT);

  /**/
  LL_GPIO_SetPinMode(SPBTLE_RF_IRQ_EXTI6_GPIO_Port, SPBTLE_RF_IRQ_EXTI6_Pin, LL_GPIO_MODE_INPUT);

  /**/
  LL_GPIO_SetPinMode(BUTTON_EXTI13_GPIO_Port, BUTTON_EXTI13_Pin, LL_GPIO_MODE_INPUT);

  /**/
  LL_GPIO_SetPinMode(ARD_D3_GPIO_Port, ARD_D3_Pin, LL_GPIO_MODE_INPUT);

  /**/
  LL_GPIO_SetPinMode(LPS22HB_INT_DRDY_EXTI0_GPIO_Port, LPS22HB_INT_DRDY_EXTI0_Pin, LL_GPIO_MODE_INPUT);

  /**/
  LL_GPIO_SetPinMode(LSM6DSL_INT1_EXTI11_GPIO_Port, LSM6DSL_INT1_EXTI11_Pin, LL_GPIO_MODE_INPUT);

  /**/
  LL_GPIO_SetPinMode(ARD_D2_GPIO_Port, ARD_D2_Pin, LL_GPIO_MODE_INPUT);

  /**/
  LL_GPIO_SetPinMode(HTS221_DRDY_EXTI15_GPIO_Port, HTS221_DRDY_EXTI15_Pin, LL_GPIO_MODE_INPUT);

  /**/
  LL_GPIO_SetPinMode(VL53L0X_GPIO1_EXTI7_GPIO_Port, VL53L0X_GPIO1_EXTI7_Pin, LL_GPIO_MODE_INPUT);

  /**/
  LL_GPIO_SetPinMode(LSM3MDL_DRDY_EXTI8_GPIO_Port, LSM3MDL_DRDY_EXTI8_Pin, LL_GPIO_MODE_INPUT);

  /**/
  LL_GPIO_SetPinMode(PMOD_IRQ_EXTI12_GPIO_Port, PMOD_IRQ_EXTI12_Pin, LL_GPIO_MODE_INPUT);

  /**/
  LL_GPIO_SetPinMode(ISM43362_DRDY_EXTI1_GPIO_Port, ISM43362_DRDY_EXTI1_Pin, LL_GPIO_MODE_INPUT);

  /**/
  LL_GPIO_EnablePinAnalogControl(GPIOC, ARD_A5_Pin|ARD_A4_Pin|ARD_A3_Pin|ARD_A2_Pin
                          |ARD_A1_Pin|ARD_A0_Pin);

  /* EXTI interrupt init*/
  NVIC_SetPriority(EXTI9_5_IRQn, NVIC_EncodePriority(NVIC_GetPriorityGrouping(),0, 0));
  NVIC_EnableIRQ(EXTI9_5_IRQn);
  NVIC_SetPriority(EXTI15_10_IRQn, NVIC_EncodePriority(NVIC_GetPriorityGrouping(),0, 0));
  NVIC_EnableIRQ(EXTI15_10_IRQn);

}

void Error_Handler(void)
{
}

/************************ (C) COPYRIGHT STMicroelectronics *****END OF FILE****/
